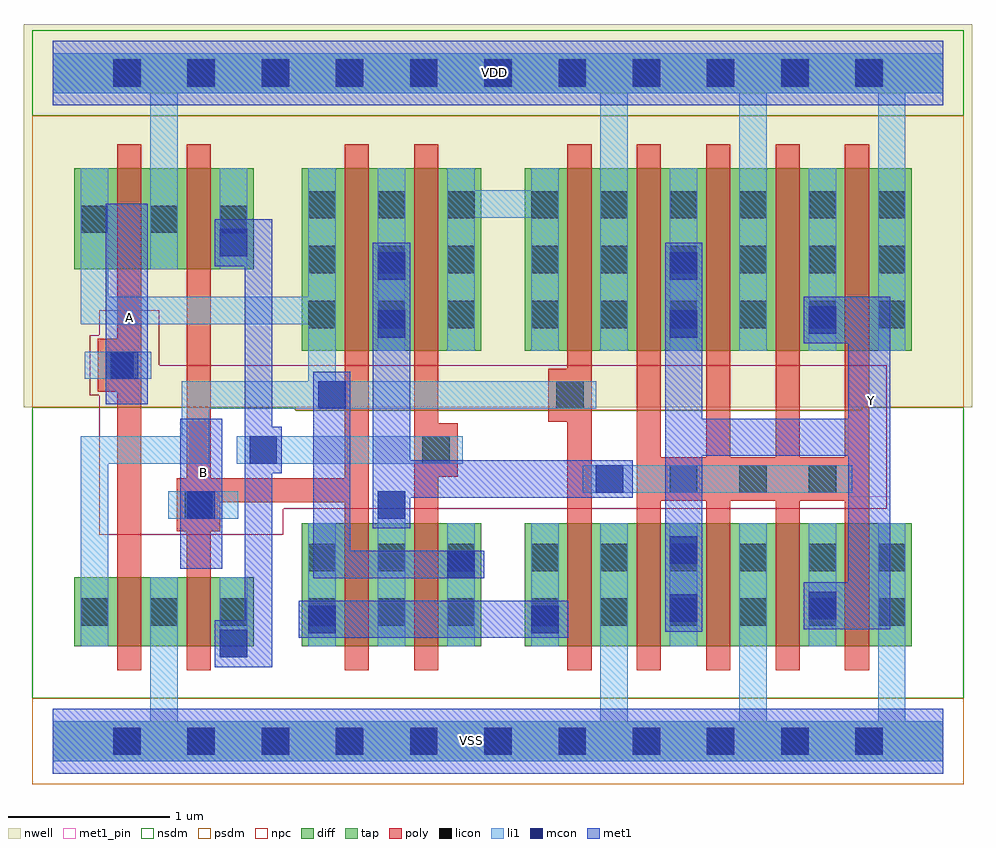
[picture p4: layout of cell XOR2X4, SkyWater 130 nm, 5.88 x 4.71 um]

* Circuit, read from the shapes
.subckt XOR2X4 A B VDD VSS Y
XM1 VSS A n1 VSS sky130_fd_pr__nfet_01v8 w=0.425 l=0.15
XM2 n2 B VSS VSS sky130_fd_pr__nfet_01v8 w=0.425 l=0.15
XM3 n3 B n4 VSS sky130_fd_pr__nfet_01v8 w=0.76 l=0.15
XM4 n1 n2 n3 VSS sky130_fd_pr__nfet_01v8 w=0.76 l=0.15
XM5 VSS n1 n4 VSS sky130_fd_pr__nfet_01v8 w=0.76 l=0.15
XM6 Y n3 VSS VSS sky130_fd_pr__nfet_01v8 w=0.76 l=0.15 m=4
XM7 VDD A n1 VDD sky130_fd_pr__pfet_01v8 w=0.625 l=0.15
XM8 n2 B VDD VDD sky130_fd_pr__pfet_01v8 w=0.625 l=0.15
XM9 n3 B n1 VDD sky130_fd_pr__pfet_01v8 w=1.13 l=0.15
XM10 n5 n2 n3 VDD sky130_fd_pr__pfet_01v8 w=1.13 l=0.15
XM11 VDD n1 n5 VDD sky130_fd_pr__pfet_01v8 w=1.13 l=0.15
XM12 Y n3 VDD VDD sky130_fd_pr__pfet_01v8 w=1.13 l=0.15 m=4
.ends

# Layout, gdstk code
from math import pi, radians
import gdstk
lib = gdstk.Library(unit=1e-6, precision=1e-09)
def R(c, l, rs):  # rectangles x0, y0, x1, y1
    for r in rs: c.add(gdstk.rectangle(r[:2], r[2:], *l))
def A(c, l, x, y, w, h, nx, ny, dx, dy):  # array of equal rectangles
    R(c, l, [(x+i*dx, y+j*dy, x+i*dx+w, y+j*dy+h) for i in range(nx) for j in range(ny)])
def P(c, l, *ps):  # polygons
    for p in ps: c.add(gdstk.Polygon(p, *l))
nwell = (64, 20)
diff = (65, 20)
tap = (65, 44)
poly = (66, 20)
licon = (66, 44)
li1 = (67, 20)
mcon = (67, 44)
met1_pin = (68, 16)
met1 = (68, 20)
nsdm = (93, 44)
psdm = (94, 20)
npc = (95, 20)

nfet_01v8_cdns_715785618 = lib.new_cell('nfet_01v8_CDNS_715785618203')
R(nfet_01v8_cdns_715785618, diff, [(-0.055,0,0,0.76), (0,0,0.15,0.76), (0.15,0,0.415,0.76)])
R(nfet_01v8_cdns_715785618, poly, [(0,-0.15,0.15,-0.095), (0,-0.095,0.15,0), (0,0,0.15,0.76), (0,0.76,0.15,0.855), (0,0.855,0.15,0.91)])
R(nfet_01v8_cdns_715785618, licon, [(0.205,0.125,0.375,0.295), (0.205,0.465,0.375,0.635)])
R(nfet_01v8_cdns_715785618, li1, [(0.205,0,0.375,0.76)])
R(nfet_01v8_cdns_715785618, nsdm, [(-0.065,-0.13,0.555,0.89)])

pfet_01v8_cdns_715785618 = lib.new_cell('pfet_01v8_CDNS_7157856182016')
R(pfet_01v8_cdns_715785618, nwell, [(-0.405,-0.18,1.885,1.31)])
A(pfet_01v8_cdns_715785618, diff, 0, 0, 0.15, 1.13, 4, 1, 0.43, 0)
A(pfet_01v8_cdns_715785618, diff, 0.15, 0, 0.28, 1.13, 3, 1, 0.43, 0)
R(pfet_01v8_cdns_715785618, diff, [(-0.225,0,0,1.13), (1.44,0,1.705,1.13)])
A(pfet_01v8_cdns_715785618, poly, 0, -0.15, 0.15, 0.055, 4, 2, 0.43, 1.375)
A(pfet_01v8_cdns_715785618, poly, 0, -0.095, 0.15, 0.095, 4, 2, 0.43, 1.225)
A(pfet_01v8_cdns_715785618, poly, 0, 0, 0.15, 1.13, 4, 1, 0.43, 0)
A(pfet_01v8_cdns_715785618, licon, -0.225, 0.14, 0.17, 0.17, 5, 3, 0.43, 0.34)
A(pfet_01v8_cdns_715785618, li1, -0.225, 0, 0.17, 1.13, 5, 1, 0.43, 0)
R(pfet_01v8_cdns_715785618, psdm, [(-0.235,-0.13,1.845,1.26)])

c_pfet_01v8_cdns_715785618 = lib.new_cell('pfet_01v8_CDNS_7157856182012')
R(c_pfet_01v8_cdns_715785618, nwell, [(-0.405,-0.18,0.595,1.31)])
R(c_pfet_01v8_cdns_715785618, diff, [(-0.225,0,0,1.13), (0,0,0.15,1.13), (0.15,0,0.415,1.13)])
R(c_pfet_01v8_cdns_715785618, poly, [(0,-0.15,0.15,-0.095), (0,-0.095,0.15,0), (0,0,0.15,1.13), (0,1.13,0.15,1.225), (0,1.225,0.15,1.28)])
A(c_pfet_01v8_cdns_715785618, licon, -0.225, 0.14, 0.17, 0.17, 1, 3, 0, 0.34)
A(c_pfet_01v8_cdns_715785618, licon, 0.205, 0.14, 0.17, 0.17, 1, 3, 0, 0.34)
R(c_pfet_01v8_cdns_715785618, li1, [(-0.225,0,-0.055,1.13), (0.205,0,0.375,1.13)])
R(c_pfet_01v8_cdns_715785618, psdm, [(-0.235,-0.13,0.555,1.26)])

c_pfet_01v8_cdns_715785618_ = lib.new_cell('pfet_01v8_CDNS_7157856182017')
R(c_pfet_01v8_cdns_715785618_, nwell, [(-0.235,-0.18,0.595,0.805)])
R(c_pfet_01v8_cdns_715785618_, diff, [(-0.055,0,0,0.625), (0,0,0.15,0.625), (0.15,0,0.415,0.625)])
R(c_pfet_01v8_cdns_715785618_, poly, [(0,-0.15,0.15,-0.095), (0,-0.095,0.15,0), (0,0,0.15,0.625), (0,0.625,0.15,0.72), (0,0.72,0.15,0.775)])
R(c_pfet_01v8_cdns_715785618_, licon, [(0.205,0.225,0.375,0.395)])
R(c_pfet_01v8_cdns_715785618_, li1, [(0.205,0,0.375,0.625)])
R(c_pfet_01v8_cdns_715785618_, psdm, [(-0.065,-0.13,0.555,0.755)])

c_nfet_01v8_cdns_715785618 = lib.new_cell('nfet_01v8_CDNS_7157856182018')
A(c_nfet_01v8_cdns_715785618, diff, 0, 0, 0.15, 0.76, 4, 1, 0.43, 0)
A(c_nfet_01v8_cdns_715785618, diff, 0.15, 0, 0.28, 0.76, 3, 1, 0.43, 0)
R(c_nfet_01v8_cdns_715785618, diff, [(-0.225,0,0,0.76), (1.44,0,1.705,0.76)])
A(c_nfet_01v8_cdns_715785618, poly, 0, -0.15, 0.15, 0.055, 4, 2, 0.43, 1.005)
A(c_nfet_01v8_cdns_715785618, poly, 0, -0.095, 0.15, 0.095, 4, 2, 0.43, 0.855)
A(c_nfet_01v8_cdns_715785618, poly, 0, 0, 0.15, 0.76, 4, 1, 0.43, 0)
A(c_nfet_01v8_cdns_715785618, licon, -0.225, 0.125, 0.17, 0.17, 5, 2, 0.43, 0.34)
A(c_nfet_01v8_cdns_715785618, li1, -0.225, 0, 0.17, 0.76, 5, 1, 0.43, 0)
R(c_nfet_01v8_cdns_715785618, nsdm, [(-0.235,-0.13,1.845,0.89)])

c_pfet_01v8_cdns_715785618__ = lib.new_cell('pfet_01v8_CDNS_7157856182019')
R(c_pfet_01v8_cdns_715785618__, nwell, [(-0.405,-0.18,0.595,0.805)])
R(c_pfet_01v8_cdns_715785618__, diff, [(-0.225,0,0,0.625), (0,0,0.15,0.625), (0.15,0,0.415,0.625)])
R(c_pfet_01v8_cdns_715785618__, poly, [(0,-0.15,0.15,-0.095), (0,-0.095,0.15,0), (0,0,0.15,0.625), (0,0.625,0.15,0.72), (0,0.72,0.15,0.775)])
R(c_pfet_01v8_cdns_715785618__, licon, [(-0.225,0.225,-0.055,0.395), (0.205,0.225,0.375,0.395)])
R(c_pfet_01v8_cdns_715785618__, li1, [(-0.225,0,-0.055,0.625), (0.205,0,0.375,0.625)])
R(c_pfet_01v8_cdns_715785618__, psdm, [(-0.235,-0.13,0.555,0.755)])

c_nfet_01v8_cdns_715785618_ = lib.new_cell('nfet_01v8_CDNS_7157856182020')
R(c_nfet_01v8_cdns_715785618_, diff, [(-0.265,0,0,0.76), (0,0,0.15,0.76), (0.15,0,0.205,0.76)])
R(c_nfet_01v8_cdns_715785618_, poly, [(0,-0.15,0.15,-0.095), (0,-0.095,0.15,0), (0,0,0.15,0.76), (0,0.76,0.15,0.855), (0,0.855,0.15,0.91)])
R(c_nfet_01v8_cdns_715785618_, licon, [(-0.225,0.125,-0.055,0.295), (-0.225,0.465,-0.055,0.635)])
R(c_nfet_01v8_cdns_715785618_, li1, [(-0.225,0,-0.055,0.76)])
R(c_nfet_01v8_cdns_715785618_, nsdm, [(-0.405,-0.13,0.215,0.89)])

c_nfet_01v8_cdns_715785618__ = lib.new_cell('nfet_01v8_CDNS_715785618208')
R(c_nfet_01v8_cdns_715785618__, diff, [(-0.055,0,0,0.425), (0,0,0.15,0.425), (0.15,0,0.415,0.425)])
R(c_nfet_01v8_cdns_715785618__, poly, [(0,-0.15,0.15,-0.095), (0,-0.095,0.15,0), (0,0,0.15,0.425), (0,0.425,0.15,0.52), (0,0.52,0.15,0.575)])
R(c_nfet_01v8_cdns_715785618__, licon, [(0.205,0.125,0.375,0.295)])
R(c_nfet_01v8_cdns_715785618__, li1, [(0.205,0,0.375,0.425)])
R(c_nfet_01v8_cdns_715785618__, nsdm, [(-0.065,-0.13,0.555,0.555)])

c_pfet_01v8_cdns_715785618___ = lib.new_cell('pfet_01v8_CDNS_715785618204')
R(c_pfet_01v8_cdns_715785618___, nwell, [(-0.235,-0.18,0.595,1.31)])
R(c_pfet_01v8_cdns_715785618___, diff, [(-0.055,0,0,1.13), (0,0,0.15,1.13), (0.15,0,0.415,1.13)])
R(c_pfet_01v8_cdns_715785618___, poly, [(0,-0.15,0.15,-0.095), (0,-0.095,0.15,0), (0,0,0.15,1.13), (0,1.13,0.15,1.225), (0,1.225,0.15,1.28)])
A(c_pfet_01v8_cdns_715785618___, licon, 0.205, 0.14, 0.17, 0.17, 1, 3, 0, 0.34)
R(c_pfet_01v8_cdns_715785618___, li1, [(0.205,0,0.375,1.13)])
R(c_pfet_01v8_cdns_715785618___, psdm, [(-0.065,-0.13,0.555,1.26)])

c_nfet_01v8_cdns_715785618___ = lib.new_cell('nfet_01v8_CDNS_715785618206')
R(c_nfet_01v8_cdns_715785618___, diff, [(-0.225,0,0,0.425), (0,0,0.15,0.425), (0.15,0,0.415,0.425)])
R(c_nfet_01v8_cdns_715785618___, poly, [(0,-0.15,0.15,-0.095), (0,-0.095,0.15,0), (0,0,0.15,0.425), (0,0.425,0.15,0.52), (0,0.52,0.15,0.575)])
R(c_nfet_01v8_cdns_715785618___, licon, [(-0.225,0.125,-0.055,0.295), (0.205,0.125,0.375,0.295)])
R(c_nfet_01v8_cdns_715785618___, li1, [(-0.225,0,-0.055,0.425), (0.205,0,0.375,0.425)])
R(c_nfet_01v8_cdns_715785618___, nsdm, [(-0.235,-0.13,0.555,0.555)])

c_nfet_01v8_cdns_715785618____ = lib.new_cell('nfet_01v8_CDNS_7157856182021')
R(c_nfet_01v8_cdns_715785618____, diff, [(-0.265,0,0,0.76), (0,0,0.15,0.76), (0.15,0,0.375,0.76)])
R(c_nfet_01v8_cdns_715785618____, poly, [(0,-0.15,0.15,-0.095), (0,-0.095,0.15,0), (0,0,0.15,0.76), (0,0.76,0.15,0.855), (0,0.855,0.15,0.91)])
R(c_nfet_01v8_cdns_715785618____, licon, [(-0.225,0.125,-0.055,0.295), (0.205,0.125,0.375,0.295), (-0.225,0.465,-0.055,0.635), (0.205,0.465,0.375,0.635)])
R(c_nfet_01v8_cdns_715785618____, li1, [(-0.225,0,-0.055,0.76), (0.205,0,0.375,0.76)])
R(c_nfet_01v8_cdns_715785618____, nsdm, [(-0.405,-0.13,0.385,0.89)])

l1m1_c_cdns_715785618203 = lib.new_cell('L1M1_C_CDNS_715785618203')
R(l1m1_c_cdns_715785618203, li1, [(-0.165,-0.085,0.165,0.085)])
R(l1m1_c_cdns_715785618203, mcon, [(-0.085,-0.085,0.085,0.085)])
R(l1m1_c_cdns_715785618203, met1, [(-0.115,-0.145,0.115,0.145)])

l1m1_c_cdns_715785618202 = lib.new_cell('L1M1_C_CDNS_715785618202')
R(l1m1_c_cdns_715785618202, li1, [(-0.085,-0.165,0.085,0.165)])
R(l1m1_c_cdns_715785618202, mcon, [(-0.085,-0.085,0.085,0.085)])
R(l1m1_c_cdns_715785618202, met1, [(-0.115,-0.145,0.115,0.145)])

pyl1con_c_cdns_715785618 = lib.new_cell('PYL1CON_C_CDNS_715785618200')
R(pyl1con_c_cdns_715785618, poly, [(-0.135,-0.165,0.135,0.165)])
R(pyl1con_c_cdns_715785618, licon, [(-0.085,-0.085,0.085,0.085)])
R(pyl1con_c_cdns_715785618, npc, [(-0.185,-0.185,0.185,0.185)])

l1m1_c_cdns_715785618206 = lib.new_cell('L1M1_C_CDNS_715785618206')
R(l1m1_c_cdns_715785618206, li1, [(-0.085,-0.165,0.085,0.165)])
R(l1m1_c_cdns_715785618206, mcon, [(-0.085,-0.085,0.085,0.085)])
R(l1m1_c_cdns_715785618206, met1, [(-0.145,-0.115,0.145,0.115)])

l1m1_c_cdns_715785618205 = lib.new_cell('L1M1_C_CDNS_715785618205')
R(l1m1_c_cdns_715785618205, li1, [(-0.085,-0.345,0.085,0.345)])
R(l1m1_c_cdns_715785618205, mcon, [(-0.085,-0.265,0.085,-0.095), (-0.085,0.095,0.085,0.265)])
R(l1m1_c_cdns_715785618205, met1, [(-0.115,-0.325,0.115,0.325)])

l1m1_c_cdns_715785618207 = lib.new_cell('L1M1_C_CDNS_715785618207')
R(l1m1_c_cdns_715785618207, li1, [(-0.165,-0.085,0.165,0.085)])
R(l1m1_c_cdns_715785618207, mcon, [(-0.085,-0.085,0.085,0.085)])
R(l1m1_c_cdns_715785618207, met1, [(-0.145,-0.115,0.145,0.115)])

l1m1_c_cdns_715785618208 = lib.new_cell('L1M1_C_CDNS_715785618208')
R(l1m1_c_cdns_715785618208, li1, [(-0.085,-0.085,0.085,0.085)])
R(l1m1_c_cdns_715785618208, mcon, [(-0.085,-0.085,0.085,0.085)])
R(l1m1_c_cdns_715785618208, met1, [(-0.115,-0.145,0.115,0.145)])

l1m1_c_cdns_715785618209 = lib.new_cell('L1M1_C_CDNS_715785618209')
R(l1m1_c_cdns_715785618209, li1, [(-0.085,-0.165,0.085,0.165)])
R(l1m1_c_cdns_715785618209, mcon, [(-0.085,-0.085,0.085,0.085)])
R(l1m1_c_cdns_715785618209, met1, [(-0.145,-0.085,0.145,0.085)])

l1m1_c_cdns_715785618201 = lib.new_cell('L1M1_C_CDNS_7157856182010')
R(l1m1_c_cdns_715785618201, li1, [(-0.085,-0.085,0.085,0.165)])
R(l1m1_c_cdns_715785618201, mcon, [(-0.085,-0.085,0.085,0.085)])
R(l1m1_c_cdns_715785618201, met1, [(-0.115,-0.145,0.115,0.145)])

xor2x4 = lib.new_cell('XOR2X4')
R(xor2x4, nwell, [(-0.18,2.07,5.7,4.305), (-0.18,3.875,5.7,4.445)])
A(xor2x4, licon, 0.375, -0.085, 0.17, 0.17, 11, 2, 0.46, 4.14)
A(xor2x4, mcon, 0.375, -0.085, 0.17, 0.17, 11, 2, 0.46, 4.14)
R(xor2x4, met1_pin, [(0.79,1.07,1.05,2), (4.93,1.515,5.19,2.755), (0.33,2.09,0.59,3.33)])
R(xor2x4, met1, [(1.005,2.945,1.36,3.235)])
R(xor2x4, nsdm, [(-0.125,3.875,5.645,4.405), (-0.125,3.93,5.645,4.35)])
P(xor2x4, nsdm, [(5.645,2.07),(5.015,2.07),(5.015,2.05),(1.505,2.05),(1.505,2.07),(-0.125,2.07),(-0.125,0.265),(5.645,0.265)])
R(xor2x4, psdm, [(-0.125,-0.265,5.645,0.265), (-0.125,-0.21,5.645,0.21)])
P(xor2x4, psdm, [(5.645,3.875),(-0.125,3.875),(-0.125,2.07),(1.505,2.07),(1.505,2.05),(5.015,2.05),(5.015,2.07),(5.645,2.07)])
P(xor2x4, npc, [(5.17,2.33),(0.66,2.33),(0.66,2.67),(0.29,2.67),(0.29,1.28),(1.43,1.28),(1.43,1.44),(5.17,1.44)])
xor2x4.add(gdstk.FlexPath([(0.475,2.83),(0.475,1.11)], 0.15, ends="flush", simple_path=True, layer=66, datatype=20))  # poly
xor2x4.add(gdstk.FlexPath([(3.695,2.325),(3.695,1.445)], 0.15, ends="flush", simple_path=True, layer=66, datatype=20))  # poly
xor2x4.add(gdstk.FlexPath([(3.265,2.325),(3.265,1.445)], 0.15, ends="flush", simple_path=True, layer=66, datatype=20))  # poly
xor2x4.add(gdstk.FlexPath([(2.315,2.325),(2.315,1.45)], 0.15, ends="flush", simple_path=True, layer=66, datatype=20))  # poly
xor2x4.add(gdstk.FlexPath([(4.555,2.325),(4.555,1.445)], 0.15, ends="flush", simple_path=True, layer=66, datatype=20))  # poly
xor2x4.add(gdstk.FlexPath([(0.905,1.11),(0.905,2.83)], 0.15, ends="flush", simple_path=True, layer=66, datatype=20))  # poly
xor2x4.add(gdstk.FlexPath([(1.885,1.555),(1.885,2.27)], 0.15, ends=(0.075, 0), simple_path=True, layer=66, datatype=20))  # poly
xor2x4.add(gdstk.FlexPath([(1.885,1.555),(0.77,1.555)], 0.15, ends=(0.075, 0), simple_path=True, layer=66, datatype=20))  # poly
xor2x4.add(gdstk.FlexPath([(4.985,2.325),(4.985,1.445)], 0.15, ends="flush", simple_path=True, layer=66, datatype=20))  # poly
xor2x4.add(gdstk.FlexPath([(4.125,2.325),(4.125,1.445)], 0.15, ends="flush", simple_path=True, layer=66, datatype=20))  # poly
xor2x4.add(gdstk.FlexPath([(1.885,1.555),(1.885,1.5)], 0.15, ends=(0.075, 0), simple_path=True, layer=66, datatype=20))  # poly
xor2x4.add(gdstk.FlexPath([(1.885,1.555),(1.885,2.325)], 0.15, ends=(0.075, 0), simple_path=True, layer=66, datatype=20))  # poly
xor2x4.add(gdstk.FlexPath([(1.67,2.67),(0.26,2.67)], 0.17, ends="extended", simple_path=True, layer=67, datatype=20))  # li1
xor2x4.add(gdstk.FlexPath([(1.67,2.29),(1.67,2.67)], 0.17, ends=(0, 0.085), simple_path=True, layer=67, datatype=20))  # li1
xor2x4.add(gdstk.FlexPath([(2.1,1.35),(2.1,1.55)], 0.17, ends="flush", simple_path=True, layer=67, datatype=20))  # li1
xor2x4.add(gdstk.FlexPath([(4.955,1.625),(3.285,1.625)], 0.17, ends="flush", simple_path=True, layer=67, datatype=20))  # li1
xor2x4.add(gdstk.FlexPath([(0.26,1.805),(0.26,1.015)], 0.17, ends=(0.085, 0), simple_path=True, layer=67, datatype=20))  # li1
xor2x4.add(gdstk.FlexPath([(2.54,1.805),(1.14,1.805)], 0.17, ends="flush", simple_path=True, layer=67, datatype=20))  # li1
xor2x4.add(gdstk.FlexPath([(2.53,3.33),(2.965,3.33)], 0.17, ends=(0.085, 0), simple_path=True, layer=67, datatype=20))  # li1
xor2x4.add(gdstk.FlexPath([(0.885,2.145),(0.885,1.805)], 0.17, ends="extended", simple_path=True, layer=67, datatype=20))  # li1
xor2x4.add(gdstk.FlexPath([(1.67,3.55),(1.67,2.06)], 0.17, ends="flush", simple_path=True, layer=67, datatype=20))  # li1
xor2x4.add(gdstk.FlexPath([(1.09,1.465),(0.755,1.465)], 0.17, ends="flush", simple_path=True, layer=67, datatype=20))  # li1
xor2x4.add(gdstk.FlexPath([(0.885,1.805),(0.26,1.805)], 0.17, ends="extended", simple_path=True, layer=67, datatype=20))  # li1
xor2x4.add(gdstk.FlexPath([(1.15,1.465),(0.715,1.465)], 0.17, ends="flush", simple_path=True, layer=67, datatype=20))  # li1
xor2x4.add(gdstk.FlexPath([(0.26,1.89),(0.26,1.805)], 0.17, ends=(0, 0.085), simple_path=True, layer=67, datatype=20))  # li1
xor2x4.add(gdstk.FlexPath([(0.26,2.76),(0.26,2.675)], 0.17, ends=(0.085, 0), simple_path=True, layer=67, datatype=20))  # li1
xor2x4.add(gdstk.FlexPath([(0.445,2.33),(0.2,2.33)], 0.17, ends="flush", simple_path=True, layer=67, datatype=20))  # li1
xor2x4.add(gdstk.FlexPath([(0.26,2.925),(0.26,2.76)], 0.17, ends=(0, 0.085), simple_path=True, layer=67, datatype=20))  # li1
xor2x4.add(gdstk.FlexPath([(3.37,2.145),(1.58,2.145)], 0.17, ends="flush", simple_path=True, layer=67, datatype=20))  # li1
xor2x4.add(gdstk.FlexPath([(1.73,2.145),(0.885,2.145)], 0.17, ends=(0, 0.085), simple_path=True, layer=67, datatype=20))  # li1
xor2x4.add(gdstk.FlexPath([(3.48,0.59),(3.48,0)], 0.17, ends=(0, 0.085), simple_path=True, layer=67, datatype=20))  # li1
xor2x4.add(gdstk.FlexPath([(4.34,0.59),(4.34,0)], 0.17, ends=(0, 0.085), simple_path=True, layer=67, datatype=20))  # li1
xor2x4.add(gdstk.FlexPath([(3.48,0),(0.215,0)], 0.17, ends=(0.085, 0), simple_path=True, layer=67, datatype=20))  # li1
xor2x4.add(gdstk.FlexPath([(0.69,3.55),(0.69,4.14)], 0.17, ends=(0, 0.125), simple_path=True, layer=67, datatype=20))  # li1
xor2x4.add(gdstk.FlexPath([(0,0),(5.52,0)], 0.25, ends="flush", simple_path=True, layer=67, datatype=20))  # li1
xor2x4.add(gdstk.FlexPath([(4.34,3.55),(4.34,4.14)], 0.17, ends=(0, 0.125), simple_path=True, layer=67, datatype=20))  # li1
xor2x4.add(gdstk.FlexPath([(3.48,3.55),(3.48,4.14)], 0.17, ends=(0, 0.125), simple_path=True, layer=67, datatype=20))  # li1
xor2x4.add(gdstk.FlexPath([(5.2,0),(4.34,0)], 0.17, ends="extended", simple_path=True, layer=67, datatype=20))  # li1
xor2x4.add(gdstk.FlexPath([(4.34,0),(3.48,0)], 0.17, ends="extended", simple_path=True, layer=67, datatype=20))  # li1
xor2x4.add(gdstk.FlexPath([(5.2,3.55),(5.2,4.14)], 0.17, ends=(0, 0.085), simple_path=True, layer=67, datatype=20))  # li1
xor2x4.add(gdstk.FlexPath([(0.69,0.59),(0.69,0)], 0.17, ends="flush", simple_path=True, layer=67, datatype=20))  # li1
xor2x4.add(gdstk.FlexPath([(0,4.14),(5.52,4.14)], 0.25, ends="flush", simple_path=True, layer=67, datatype=20))  # li1
xor2x4.add(gdstk.FlexPath([(5.2,4.14),(0.215,4.14)], 0.17, ends=(0.085, 0), simple_path=True, layer=67, datatype=20))  # li1
xor2x4.add(gdstk.FlexPath([(5.2,0.59),(5.2,0)], 0.17, ends=(0, 0.085), simple_path=True, layer=67, datatype=20))  # li1
xor2x4.add(gdstk.FlexPath([(3.595,1.625),(1.985,1.625)], 0.23, ends="flush", simple_path=True, layer=68, datatype=20))  # met1
xor2x4.add(gdstk.FlexPath([(1.815,0.755),(3.195,0.755)], 0.23, ends="flush", simple_path=True, layer=68, datatype=20))  # met1
xor2x4.add(gdstk.FlexPath([(1.73,1.095),(2.53,1.095)], 0.17, ends=(0.115, 0.115), simple_path=True, layer=68, datatype=20))  # met1
xor2x4.add(gdstk.FlexPath([(0.92,1.07),(0.92,2)], 0.26, ends="flush", simple_path=True, layer=68, datatype=20))  # met1
xor2x4.add(gdstk.FlexPath([(5.06,0.695),(5.06,2.755)], 0.26, ends="flush", simple_path=True, layer=68, datatype=20))  # met1
xor2x4.add(gdstk.FlexPath([(4.77,0.84),(4.885,0.84)], 0.29, ends=(0, 0.13), simple_path=True, layer=68, datatype=20))  # met1
xor2x4.add(gdstk.FlexPath([(1.73,2.145),(1.73,1.095)], 0.23, ends=(0, 0.085), simple_path=True, layer=68, datatype=20))  # met1
xor2x4.add(gdstk.FlexPath([(1.275,0.605),(1.275,3.09)], 0.17, ends=(0.145, 0.085), simple_path=True, layer=68, datatype=20))  # met1
xor2x4.add(gdstk.FlexPath([(4.885,0.84),(4.885,0.865)], 0.26, ends=(0.145, 0), simple_path=True, layer=68, datatype=20))  # met1
xor2x4.add(gdstk.FlexPath([(4.77,2.61),(4.885,2.61)], 0.29, ends=(0, 0.13), simple_path=True, layer=68, datatype=20))  # met1
xor2x4.add(gdstk.FlexPath([(5.055,1.885),(3.795,1.885)], 0.23, ends="flush", simple_path=True, layer=68, datatype=20))  # met1
xor2x4.add(gdstk.FlexPath([(3.91,0.68),(3.91,3.09)], 0.23, ends="flush", simple_path=True, layer=68, datatype=20))  # met1
xor2x4.add(gdstk.FlexPath([(2.1,1.32),(2.1,3.09)], 0.23, ends="flush", simple_path=True, layer=68, datatype=20))  # met1
xor2x4.add(gdstk.FlexPath([(1.12,0.605),(1.235,0.605)], 0.29, ends=(0, 0.085), simple_path=True, layer=68, datatype=20))  # met1
xor2x4.add(gdstk.FlexPath([(1.275,3.09),(1.16,3.09)], 0.17, ends=(0.085, 0), simple_path=True, layer=68, datatype=20))  # met1
xor2x4.add(gdstk.FlexPath([(0.46,2.09),(0.46,3.33)], 0.26, ends="flush", simple_path=True, layer=68, datatype=20))  # met1
xor2x4.add(gdstk.FlexPath([(0,4.14),(5.52,4.14)], 0.4, ends="flush", simple_path=True, layer=68, datatype=20))  # met1
xor2x4.add(gdstk.FlexPath([(0,0),(5.52,0)], 0.4, ends="flush", simple_path=True, layer=68, datatype=20))  # met1
xor2x4.add(gdstk.FlexPath([(0,4.14),(5.52,4.14)], 0.25, ends="flush", simple_path=True, layer=65, datatype=44))  # tap
xor2x4.add(gdstk.FlexPath([(0,0),(5.52,0)], 0.25, ends="flush", simple_path=True, layer=65, datatype=44))  # tap
xor2x4.add(gdstk.FlexPath([(0,4.14),(5.52,4.14)], 0.4, ends="flush", simple_path=True, layer=68, datatype=16))  # met1_pin
xor2x4.add(gdstk.FlexPath([(0,0),(5.52,0)], 0.4, ends="flush", simple_path=True, layer=68, datatype=16))  # met1_pin
xor2x4.add(gdstk.Reference(nfet_01v8_cdns_715785618, (3.34,0.59), rotation=pi, x_reflection=True))
xor2x4.add(gdstk.Reference(pfet_01v8_cdns_715785618, (3.62,2.42)))
xor2x4.add(gdstk.Reference(c_pfet_01v8_cdns_715785618, (1.96,2.42), rotation=pi, x_reflection=True))
xor2x4.add(gdstk.Reference(c_pfet_01v8_cdns_715785618_, (0.83,2.925)))
xor2x4.add(gdstk.Reference(c_nfet_01v8_cdns_715785618, (3.62,0.59)))
xor2x4.add(gdstk.Reference(c_pfet_01v8_cdns_715785618__, (0.55,2.925), rotation=pi, x_reflection=True))
xor2x4.add(gdstk.Reference(c_nfet_01v8_cdns_715785618_, (2.39,0.59), rotation=pi, x_reflection=True))
xor2x4.add(gdstk.Reference(c_nfet_01v8_cdns_715785618__, (0.83,0.59)))
xor2x4.add(gdstk.Reference(c_pfet_01v8_cdns_715785618___, (2.24,2.42)))
xor2x4.add(gdstk.Reference(c_pfet_01v8_cdns_715785618___, (3.34,2.42), rotation=pi, x_reflection=True))
xor2x4.add(gdstk.Reference(c_nfet_01v8_cdns_715785618___, (0.55,0.59), rotation=pi, x_reflection=True))
xor2x4.add(gdstk.Reference(c_nfet_01v8_cdns_715785618____, (1.81,0.59)))
xor2x4.add(gdstk.Reference(l1m1_c_cdns_715785618203, (0.92,1.465), x_reflection=True))
xor2x4.add(gdstk.Reference(l1m1_c_cdns_715785618203, (0.445,2.33), x_reflection=True))
xor2x4.add(gdstk.Reference(l1m1_c_cdns_715785618203, (1.73,2.145)))
xor2x4.add(gdstk.Reference(l1m1_c_cdns_715785618202, (4.77,2.61)))
xor2x4.add(gdstk.Reference(l1m1_c_cdns_715785618202, (4.77,0.84)))
xor2x4.add(gdstk.Reference(l1m1_c_cdns_715785618202, (1.12,3.09)))
xor2x4.add(gdstk.Reference(pyl1con_c_cdns_715785618, (2.375,1.805), x_reflection=True))
xor2x4.add(gdstk.Reference(pyl1con_c_cdns_715785618, (4.77,1.625), rotation=3*pi/2, x_reflection=True))
xor2x4.add(gdstk.Reference(pyl1con_c_cdns_715785618, (4.34,1.625), rotation=3*pi/2, x_reflection=True))
xor2x4.add(gdstk.Reference(pyl1con_c_cdns_715785618, (3.91,1.625), rotation=3*pi/2, x_reflection=True))
xor2x4.add(gdstk.Reference(pyl1con_c_cdns_715785618, (3.205,2.145), x_reflection=True))
xor2x4.add(gdstk.Reference(pyl1con_c_cdns_715785618, (0.905,1.465), rotation=pi, x_reflection=True))
xor2x4.add(gdstk.Reference(pyl1con_c_cdns_715785618, (0.415,2.33), rotation=pi, x_reflection=True))
xor2x4.add(gdstk.Reference(l1m1_c_cdns_715785618206, (3.05,0.755)))
xor2x4.add(gdstk.Reference(l1m1_c_cdns_715785618206, (1.67,0.755)))
xor2x4.add(gdstk.Reference(l1m1_c_cdns_715785618206, (1.305,1.805), rotation=pi/2))
xor2x4.add(gdstk.Reference(l1m1_c_cdns_715785618205, (2.1,2.765)))
xor2x4.add(gdstk.Reference(l1m1_c_cdns_715785618205, (3.91,2.765)))
xor2x4.add(gdstk.Reference(l1m1_c_cdns_715785618205, (3.91,1.005)))
xor2x4.add(gdstk.Reference(l1m1_c_cdns_715785618207, (3.45,1.625)))
xor2x4.add(gdstk.Reference(l1m1_c_cdns_715785618208, (2.1,1.465)))
xor2x4.add(gdstk.Reference(l1m1_c_cdns_715785618209, (2.53,1.095)))
xor2x4.add(gdstk.Reference(l1m1_c_cdns_715785618201, (1.12,0.605)))
xor2x4.add(gdstk.Label('VDD', (2.74,4.145), layer=68, texttype=16))
xor2x4.add(gdstk.Label('Y', (5.075,2.11), layer=68, texttype=16))
xor2x4.add(gdstk.Label('B', (0.935,1.665), layer=68, texttype=16))
xor2x4.add(gdstk.Label('VSS', (2.595,0.005), layer=68, texttype=16))
xor2x4.add(gdstk.Label('A', (0.475,2.625), layer=68, texttype=16))

lib.write_gds('XOR2X4.gds')
